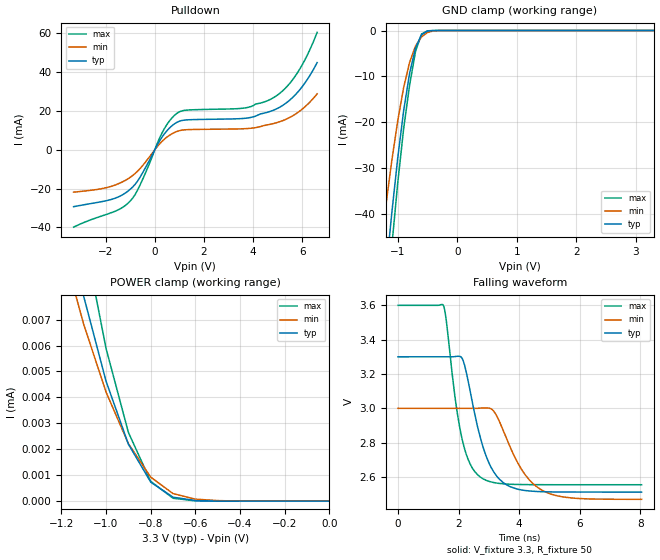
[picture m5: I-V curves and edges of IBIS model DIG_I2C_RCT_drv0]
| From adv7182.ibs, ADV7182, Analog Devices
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[Model] DIG_I2C_RCT_drv0
Model_type I/O_open_drain
Vinl = 1.37V
Vinh = 1.67V
C_comp 2.731152pF 1.729002pF 7.964089pF
Vmeas = 1.65V
Cref = 10pF
[Model Spec]
| Subparameter   typ   min   max
| Thresholds
Vinh   1.54V   1.44V   1.67V
Vinl   1.48V   1.37V   1.61V
| Overshoot
S_overshoot_high   3.60V   3.30V   3.90V
S_overshoot_low   -0.30V   NA   NA
| Timing spec related
Vmeas   1.65V   1.50V   1.80V
Cref   10pF   NA   NA
| variable   typ   min   max
[Temperature Range]   25   125   -40
[Voltage Range]   3.30V   3.00V   3.60V
[Pulldown Reference]   0V   0V   0V
[GND Clamp Reference]   0V   0V   0V
[POWER Clamp Reference]  3.30V   3.00V   3.60V
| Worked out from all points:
|   slope of the pulldown table from 0 to 0.495 V, typ, clamps not added: 50.3 ohm
|   GND clamp passes 1 mA (typ) near -0.60 V on its own axis
|   falling waveform, V_fixture 3.3, R_fixture 50: 20-80 % time 701ps typ, 955ps min, 526ps max; typ from 3.3 V to 2.51 V
[Pulldown]
| Note: Vtable = Vpin
| Voltage   I(typ)   I(min)   I(max)
-3.3V     -29.29mA   -21.8mA    -39.83mA
-1.7V     -25.3mA    -18.53mA   -32.08mA
-1V       -20.36mA   -14.19mA   -26.4mA
-600mV    -14.16mA   -9.675mA   -18.16mA
300mV     6.636mA    4.406mA    8.8mA
900mV     14.15mA    9.443mA    18.8mA
1.3V      15.41mA    10.36mA    20.44mA
3.7V      16.27mA    10.9mA     21.63mA
4.8V      20.27mA    13.45mA    26.66mA
5.7V      28.17mA    18.24mA    37.79mA
6.2V      36.23mA    23.27mA    48.79mA
6.6V      44.9mA     28.84mA    60.5mA
[GND Clamp]
| Note: Vtable = Vpin
| Voltage   I(typ)   I(min)   I(max)
-3.3V     -431.8mA   -349mA     -484.3mA
-1.3V     -67.14mA   -48.94mA   -78.55mA
-1.2V     -53.08mA   -38.26mA   -62.36mA
-1.1V     -39.88mA   -28.44mA   -47.13mA
-1V       -27.84mA   -19.7mA    -33.28mA
-900mV    -17.44mA   -12.4mA    -21.37mA
-800mV    -9.272mA   -6.915mA   -11.88mA
-700mV    -3.752mA   -3.35mA    -4.502mA
-600mV    -904.8uA   -1.389mA   -763.7uA
-500mV    -118.6uA   -438.4uA   -60.27uA
-300mV    -541.4nA   -7.115uA   -61.02nA
3.3V      0A         0A         0A
[Power Clamp]
| Note: Vtable = VCC - Vpin
| Voltage   I(typ)   I(min)   I(max)
-3.3V     215.8uA    169.6uA    286.8uA
-1.2V     11.9uA     9.962uA    15.75uA
-1.1V     7.892uA    6.814uA    10.3uA
-1V       4.624uA    4.205uA    5.886uA
-900mV    2.196uA    2.217uA    2.651uA
-800mV    733.8nA    925.3nA    762.1nA
-700mV    152.1nA    290.8nA    110.8nA
-600mV    22.95nA    76.33nA    10.03nA
-400mV    0A         0A         0A
0V        0A         0A         0A
[Ramp]
| Variable   typ   min   max
dV/dt_r   0.47V/180.8767ps   0.32V/230.1109ps   0.63V/156.6207ps
dV/dt_f   0.47V/701.21ps   0.32V/954.5374ps   0.63V/528.8239ps
R_load =  50
[Falling Waveform]
V_fixture =  3.3
R_fixture =  50
V_fixture_max =  3.6
V_fixture_min =  3
| R_dut = 0.23Ohm
| L_dut = 6.2nH
| C_dut = 1.05pF
| Time   V(typ)   V(min)   V(max)
0s        3.3V       3V         3.6V
1.509ns   3.3V       3V         3.596V
2.062ns   3.301V     3V         2.866V
2.318ns   3.158V     3V         2.701V
2.702ns   2.84V      3.001V     2.602V
3.117ns   2.643V     2.992V     2.569V
3.457ns   2.57V      2.879V     2.56V
4.084ns   2.524V     2.643V     2.556V
4.764ns   2.514V     2.522V     2.555V
8.045ns   2.512V     2.47V      2.555V
